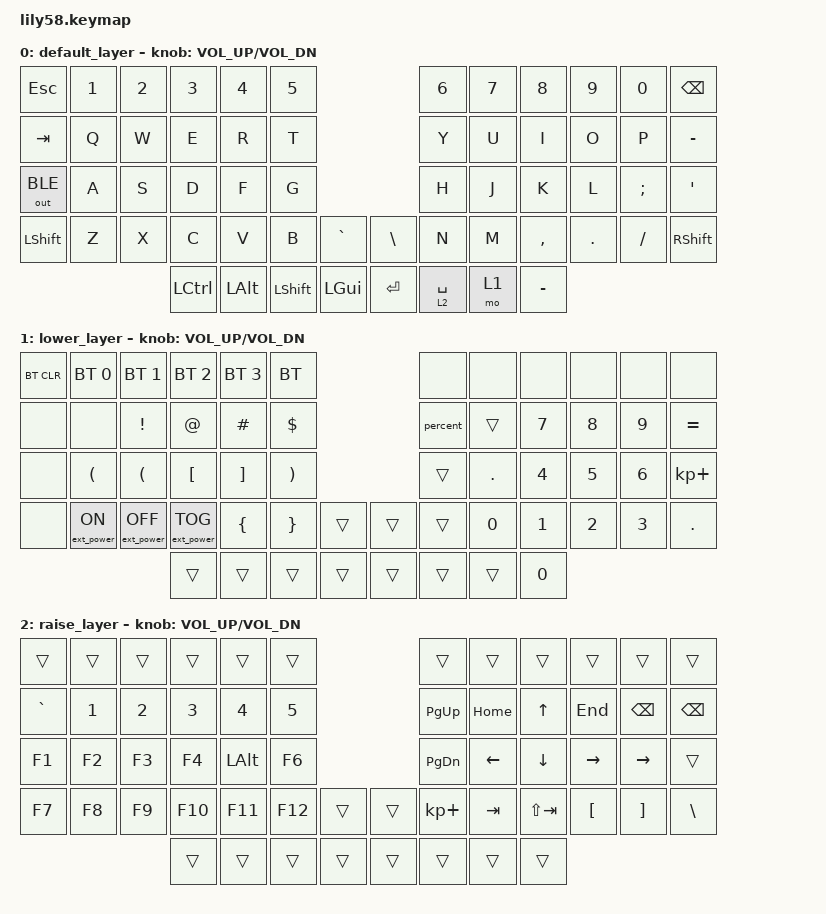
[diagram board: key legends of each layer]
/*
 * Copyright (c) 2020 The ZMK Contributors
 *
 * SPDX-License-Identifier: MIT
 */

#include <behaviors.dtsi>
#include <dt-bindings/zmk/keys.h>
#include <dt-bindings/zmk/bt.h>
#include <dt-bindings/zmk/ext_power.h>
#include <dt-bindings/zmk/outputs.h>

/ {
	keymap {
		compatible = "zmk,keymap";

		default_layer {
// ------------------------------------------------------------------------------------------------------------
// |  ESC  |  1  |  2  |  3   |  4   |  5   |                   |  6   |  7    |  8    |  9   |   0   | BSPC  |
// |  TAB  |  Q  |  W  |  E   |  R   |  T   |                   |  Y   |  U    |  I    |  O   |   P   |   -   |
// | BTCLR |  A  |  S  |  D   |  F   |  G   |                   |  H   |  J    |  K    |  L   |   ;   |   '   |
// | SHIFT |  Z  |  X  |  C   |  V   |  B   |   `  |  |  \  |  N   |  M    |  ,    |  .   |   /   | - |
//                     | CTRL | ALT  | SHIFT|  GUI |  | ENTER | SPACE| BSPC  | GUI   |
			bindings = <
&kp ESC   &kp N1 &kp N2 &kp N3   &kp N4   &kp N5                     &kp N6 &kp N7   &kp N8    &kp N9  &kp N0   &kp BSPC
&kp TAB   &kp Q  &kp W  &kp E    &kp R    &kp T                      &kp Y  &kp U    &kp I     &kp O   &kp P    &kp MINUS
&out OUT_BLE &kp A  &kp S  &kp D    &kp F    &kp G                      &kp H  &kp J    &kp K     &kp L   &kp SEMI &kp SQT
&kp LSHFT &kp Z  &kp X  &kp C    &kp V    &kp B  &kp GRAVE   &kp BSLH &kp N  &kp M    &kp COMMA &kp DOT &kp FSLH &kp RSHFT
            &kp LEFT_CONTROL &kp LEFT_ALT &kp LEFT_SHIFT  &kp LGUI				&kp RET  &lt 2 SPACE &mo 1 &kp MINUS
			>;

			sensor-bindings = <&inc_dec_kp C_VOL_UP C_VOL_DN>;
		};

		lower_layer {
// ------------------------------------------------------------------------------------------------------------
// | BTCLR | BT1 | BT2 |  BT3 |  BT4 |  BT5 |                   |      |       |       |      |       |       |
// |  !    |  !  |  @  |  #   |  $   |  %   |                   |      |       |  7    |  8   |  9    |   =   |
// |   `   |  (  |  (  |  [   |  ]   |   )  |                   |      |   .   |  4    |  5   |   6   |   +   |
// |       |     |     |  {   |  }   |      |        |  |       |      |  0    |  1    |  2   |   3   |   .   |
//                     |      |      |      |        |  |       |      |       |       |  0
			bindings = <
&bt BT_CLR &bt BT_SEL 0     &bt BT_SEL 1      &bt BT_SEL 2      &bt BT_SEL 3 &bt BT_SEL                     &none    &none    &none     &none    &none    &none
&none     &none      &kp EXCL            &kp AT          &kp HASH   &kp DOLLAR                    &kp percent    &trans    &kp N7     &kp N8   &kp N9   &kp EQUAL
&none  &kp LPAR         &kp LPAR          &kp LBKT          &kp RBKT     &kp RPAR                       &trans    &kp DOT    &kp N4     &kp N5  &kp N6    &kp KP_PLUS
&none     &ext_power EP_ON &ext_power EP_OFF &ext_power EP_TOG &kp LBRC     &kp RBRC    &trans   &trans    &trans    &kp N0    &kp N1     &kp N2  &kp N3    &kp DOT
                                              &trans            &trans       &trans      &trans   &trans    &trans    &trans    &kp N0
			>;

			sensor-bindings = <&inc_dec_kp C_VOL_UP C_VOL_DN>;
		};

		raise_layer {
// ------------------------------------------------------------------------------------------------------------
// |       |     |     |      |      |      |                   |      |       |       |      |       |       |
// |   `   |  1  |  2  |  3   |  4   |  5   |                   |  PGUP| HOME  |   ^   |  END | BSPC  | BSPC  |
// |   F1  |  F2 |  F3 |  F4  | LATL |  F6  |                   |PGDOWN|   <-  |   \/  |  ->  |  ->   |       |
// |   F7  |  F8 |  F9 |  F10 |  F11 |  F12 |        |  |       |  +   | TAB   |LS(TAB)|  [   |   ]   |   \   |
//                     |      |      |      |        |  |       |      |       |       |
			bindings = <
&trans    &trans &trans &trans  &trans  &trans                       &trans         &trans      &trans    &trans    &trans    &trans
&kp GRAVE &kp N1 &kp N2 &kp N3  &kp N4  &kp N5                       &kp PAGE_UP    &kp HOME    &kp UP    &kp END   &kp BSPC  &kp BSPC
&kp F1    &kp F2 &kp F3 &kp F4  &kp LALT  &kp F6                     &kp PAGE_DOWN  &kp LEFT    &kp DOWN  &kp RIGHT &kp RIGHT &trans
&kp F7    &kp F8 &kp F9 &kp F10 &kp F11 &kp F12   &trans   &trans    &kp KP_PLUS    &kp TAB 	&kp LS(TAB) &kp LBKT  &kp RBKT  &kp BSLH
                        &trans  &trans  &trans    &trans   &trans    &trans      &trans    &trans
			>;

			sensor-bindings = <&inc_dec_kp C_VOL_UP C_VOL_DN>;
		};
	};
};
